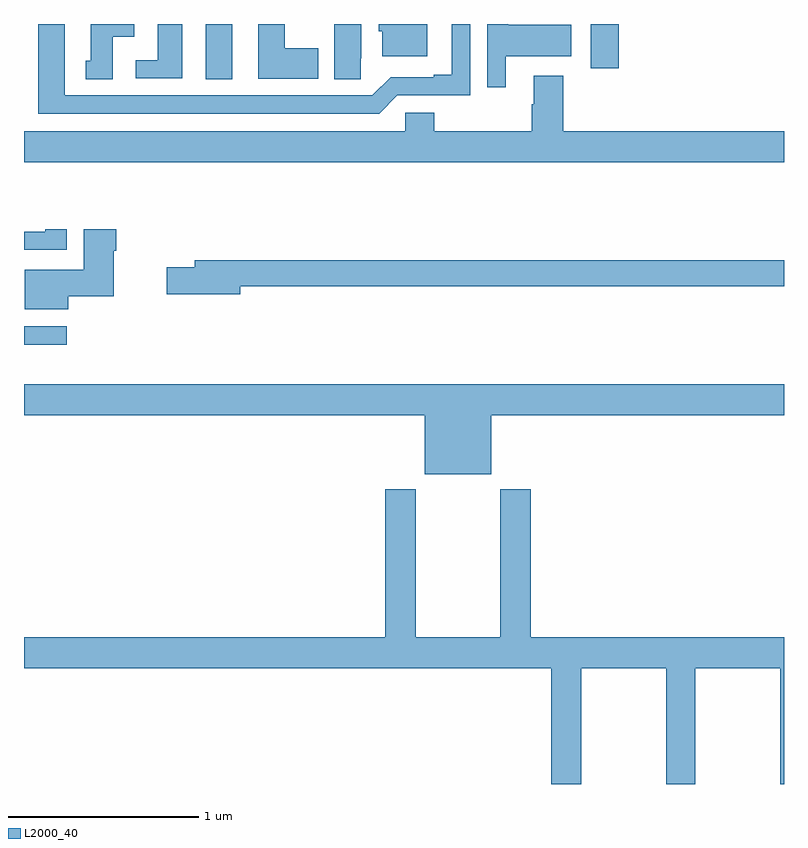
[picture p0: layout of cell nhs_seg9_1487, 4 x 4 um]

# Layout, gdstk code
import gdstk
lib = gdstk.Library(unit=1e-6, precision=1e-09)
def R(c, l, rs):  # rectangles x0, y0, x1, y1
    for r in rs: c.add(gdstk.rectangle(r[:2], r[2:], *l))
def P(c, l, *ps):  # polygons
    for p in ps: c.add(gdstk.Polygon(p, *l))
L2000_40 = (2000, 40)

nhs_seg9_1487 = lib.new_cell('nhs_seg9_1487')
R(nhs_seg9_1487, L2000_40, [(195,1176.813,195.226,1176.909), (195.956,1178.209,196.096,1178.5), (197.984,1178.268,198.131,1178.5)])
P(nhs_seg9_1487, L2000_40, [(195.832,1178.5),(195.704,1178.5),(195.704,1178.31),(195.588,1178.31),(195.588,1178.214),(195.832,1178.214)],
  [(197.536,1178.33),(197.881,1178.33),(197.881,1178.496),(197.548,1178.496),(197.548,1178.5),(197.439,1178.5),(197.439,1178.166),(197.536,1178.166)],
  [(195.466,1178.432),(195.58,1178.432),(195.58,1178.5),(195.35,1178.5),(195.35,1178.307),(195.326,1178.307),(195.326,1178.209),(195.466,1178.209)],
  [(196.965,1178.124),(197.349,1178.124),(197.349,1178.5),(197.252,1178.5),(197.252,1178.233),(197.156,1178.233),(197.156,1178.22),(196.929,1178.22),(196.833,1178.124),(195.214,1178.124),(195.214,1178.5),(195.074,1178.5),(195.074,1178.028),(196.869,1178.028)],
  [(196.773,1178.32),(196.774,1178.32),(196.774,1178.5),(196.634,1178.5),(196.634,1178.209),(196.773,1178.209)],
  [(196.549,1178.373),(196.372,1178.373),(196.372,1178.5),(196.232,1178.5),(196.232,1178.213),(196.549,1178.213)],
  [(197.122,1178.5),(196.868,1178.5),(196.868,1178.463),(196.886,1178.463),(196.886,1178.33),(197.122,1178.33)],
  [(199,1177.936),(197.837,1177.936),(197.837,1178.227),(197.684,1178.227),(197.684,1178.078),(197.672,1178.078),(197.672,1177.936),(197.159,1177.936),(197.159,1178.034),(197.007,1178.034),(197.007,1177.936),(195,1177.936),(195,1177.772),(199,1177.772)],
  [(195.232,1177.067),(195.472,1177.067),(195.472,1177.307),(195.485,1177.307),(195.485,1177.42),(195.314,1177.42),(195.314,1177.207),(195.005,1177.207),(195.005,1176.998),(195.232,1176.998)],
  [(195.226,1177.42),(195.113,1177.42),(195.113,1177.407),(195,1177.407),(195,1177.311),(195.226,1177.311)],
  [(196.138,1177.12),(199,1177.12),(199,1177.256),(195.899,1177.256),(195.899,1177.22),(195.75,1177.22),(195.75,1177.078),(196.138,1177.078)],
  [(197.458,1176.44),(199,1176.44),(199,1176.604),(195,1176.604),(195,1176.44),(197.108,1176.44),(197.108,1176.131),(197.458,1176.131)],
  [(197.934,1175.108),(198.379,1175.108),(198.379,1174.5),(198.534,1174.5),(198.534,1175.108),(198.979,1175.108),(198.979,1174.5),(199,1174.5),(199,1175.272),(197.666,1175.272),(197.666,1176.052),(197.506,1176.052),(197.506,1175.272),(197.061,1175.272),(197.061,1176.052),(196.901,1176.052),(196.901,1175.272),(195,1175.272),(195,1175.108),(197.774,1175.108),(197.774,1174.5),(197.934,1174.5)])

lib.write_gds('nhs_seg9_1487.gds')
